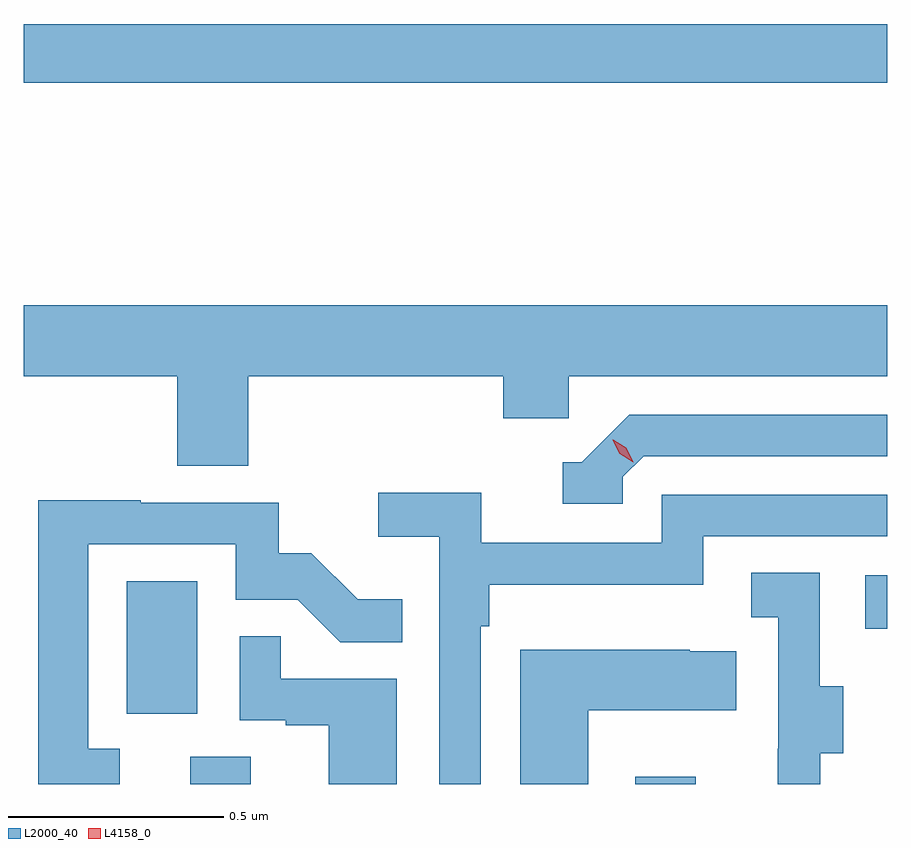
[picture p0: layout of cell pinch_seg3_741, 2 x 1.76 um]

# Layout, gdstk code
import gdstk
lib = gdstk.Library(unit=1e-6, precision=1e-09)
def R(c, l, rs):  # rectangles x0, y0, x1, y1
    for r in rs: c.add(gdstk.rectangle(r[:2], r[2:], *l))
def P(c, l, *ps):  # polygons
    for p in ps: c.add(gdstk.Polygon(p, *l))
L2000_40 = (2000, 40)
L4158_0 = (4158, 0)

pinch_seg3_741 = lib.new_cell('pinch_seg3_741')
R(pinch_seg3_741, L2000_40, [(875.645,742.595,875.785,742.658), (876.677,742.595,876.817,742.612), (875.498,742.758,875.662,743.065), (877.209,742.955,877.26,743.079), (875.26,744.22,877.26,744.356)])
P(pinch_seg3_741, L2000_40, [(875.78,743.54),(876.371,743.54),(876.371,743.442),(876.522,743.442),(876.522,743.54),(877.26,743.54),(877.26,743.704),(875.26,743.704),(875.26,743.54),(875.615,743.54),(875.615,743.332),(875.78,743.332)],
  [(876.648,743.307),(876.696,743.355),(877.26,743.355),(877.26,743.451),(876.663,743.451),(876.552,743.34),(876.509,743.34),(876.509,743.244),(876.648,743.244)],
  [(876.318,742.961),(876.338,742.961),(876.338,743.057),(876.834,743.057),(876.834,743.169),(877.26,743.169),(877.26,743.265),(876.738,743.265),(876.738,743.154),(876.32,743.154),(876.32,743.27),(876.081,743.27),(876.081,743.168),(876.222,743.168),(876.222,742.595),(876.318,742.595)],
  [(875.482,742.677),(875.409,742.677),(875.409,743.151),(875.751,743.151),(875.751,743.022),(875.895,743.022),(875.993,742.924),(876.137,742.924),(876.137,743.023),(876.033,743.023),(875.926,743.13),(875.85,743.13),(875.85,743.247),(875.531,743.247),(875.531,743.252),(875.293,743.252),(875.293,742.595),(875.482,742.595)],
  [(877.105,742.666),(877.159,742.666),(877.159,742.821),(877.104,742.821),(877.104,743.084),(876.945,743.084),(876.945,742.981),(877.008,742.981),(877.008,742.677),(877.007,742.677),(877.007,742.595),(877.105,742.595)],
  [(876.124,742.839),(875.855,742.839),(875.855,742.937),(875.76,742.937),(875.76,742.743),(875.867,742.743),(875.867,742.731),(875.966,742.731),(875.966,742.595),(876.124,742.595)],
  [(876.568,742.766),(876.911,742.766),(876.911,742.903),(876.803,742.903),(876.803,742.906),(876.41,742.906),(876.41,742.595),(876.568,742.595)])
P(pinch_seg3_741, L4158_0, [(876.672,743.341),(876.641,743.36),(876.624,743.392),(876.624,743.393),(876.625,743.393),(876.656,743.374),(876.672,743.342),(876.672,743.341)])

lib.write_gds('pinch_seg3_741.gds')
